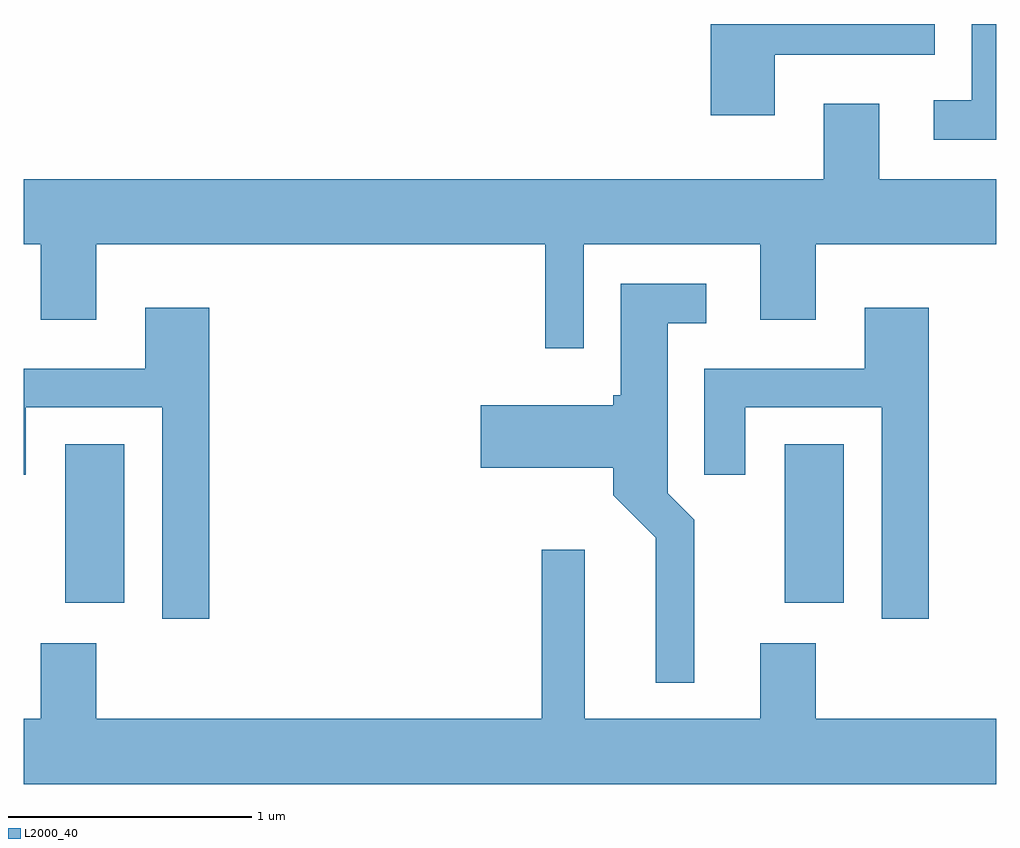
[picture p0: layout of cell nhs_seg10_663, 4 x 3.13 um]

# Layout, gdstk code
import gdstk
lib = gdstk.Library(unit=1e-6, precision=1e-09)
def R(c, l, rs):  # rectangles x0, y0, x1, y1
    for r in rs: c.add(gdstk.rectangle(r[:2], r[2:], *l))
def P(c, l, *ps):  # polygons
    for p in ps: c.add(gdstk.Polygon(p, *l))
L2000_40 = (2000, 40)

nhs_seg10_663 = lib.new_cell('nhs_seg10_663')
R(nhs_seg10_663, L2000_40, [(203.781,2190.141,204.024,2190.794), (206.741,2190.141,206.984,2190.794)])
P(nhs_seg10_663, L2000_40, [(206.699,2192.396),(207.359,2192.396),(207.359,2192.522),(206.436,2192.522),(206.436,2192.146),(206.699,2192.146)],
  [(207.611,2192.522),(207.511,2192.522),(207.511,2192.209),(207.353,2192.209),(207.353,2192.046),(207.611,2192.046)],
  [(205.914,2191.616),(206.641,2191.616),(206.641,2191.306),(206.869,2191.306),(206.869,2191.616),(207.611,2191.616),(207.611,2191.884),(207.129,2191.884),(207.129,2192.194),(206.901,2192.194),(206.901,2191.884),(203.611,2191.884),(203.611,2191.616),(203.681,2191.616),(203.681,2191.306),(203.909,2191.306),(203.909,2191.616),(205.756,2191.616),(205.756,2191.188),(205.914,2191.188)],
  [(206.369,2190.482),(206.259,2190.592),(206.259,2191.291),(206.418,2191.291),(206.418,2191.454),(206.066,2191.454),(206.066,2190.994),(206.036,2190.994),(206.036,2190.954),(205.491,2190.954),(205.491,2190.696),(206.036,2190.696),(206.036,2190.584),(206.211,2190.409),(206.211,2189.813),(206.369,2189.813)],
  [(204.374,2191.354),(204.111,2191.354),(204.111,2191.104),(203.611,2191.104),(203.611,2190.668),(203.619,2190.668),(203.619,2190.946),(204.181,2190.946),(204.181,2190.076),(204.374,2190.076)],
  [(207.334,2191.354),(207.071,2191.354),(207.071,2191.104),(206.411,2191.104),(206.411,2190.668),(206.579,2190.668),(206.579,2190.946),(207.141,2190.946),(207.141,2190.076),(207.334,2190.076)],
  [(207.611,2189.664),(206.869,2189.664),(206.869,2189.974),(206.641,2189.974),(206.641,2189.664),(205.919,2189.664),(205.919,2190.359),(205.741,2190.359),(205.741,2189.664),(203.909,2189.664),(203.909,2189.974),(203.681,2189.974),(203.681,2189.664),(203.611,2189.664),(203.611,2189.396),(207.611,2189.396)])

lib.write_gds('nhs_seg10_663.gds')
